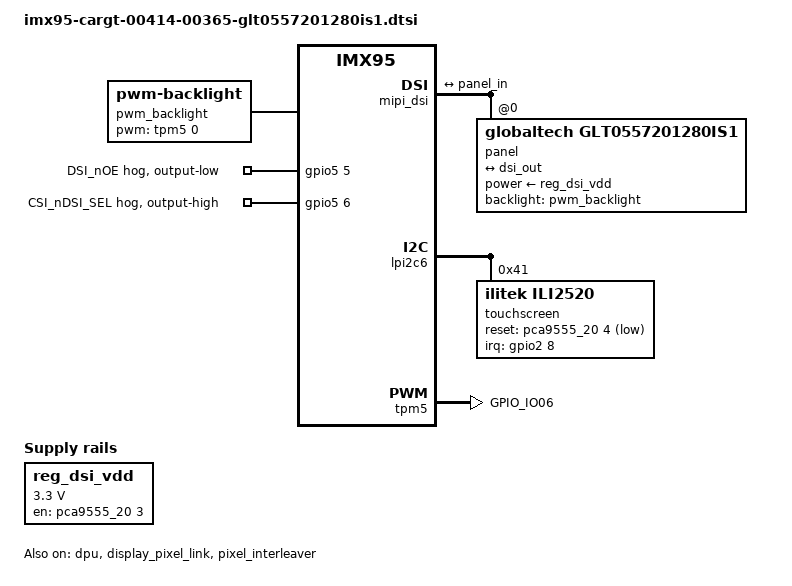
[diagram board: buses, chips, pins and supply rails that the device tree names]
// SPDX-License-Identifier: (GPL-2.0+ OR MIT)
/*
 * Copyright 2026 Cargt
 *
 * GT Display GLT0557201280IS1-CTP 5.5" 720x1280 MIPI-DSI panel (ILI9881C)
 * with ILI2520 touch, on the 00414 SOM + 00365 carrier.
 *
 * Ported from imx93-cargt-00363-00365-glt0557201280is1.dtsi by OSM-L signal
 * name. On the 00414:
 *   PWM_0/DISP_BL_PWM (DSI_BL_PWM)   TPM5_CH0, GPIO_IO06
 *   SPI_A_CS0# (DSICT_nINT)          GPIO2_IO08, GPIO_IO08
 *   I2C_B (touch)                    LPI2C6
 * DSI_VDD_EN (P03) and DSICT_nRST (P04) are on the 00365 pca9555.
 *
 * On the 00414 the i.MX 95 DSI/CSI combo PHY lanes reach the OSM DSI pins
 * through a TMUX646 switch (U4) shared with OSM CSI_B. It is enabled by
 * DSI_nOE (XSPI1_DATA5, GPIO5_IO05, low = on) and set to DSI with
 * CSI_nDSI_SEL (XSPI1_DATA6, GPIO5_IO06, high = DSI; verified on hardware).
 */

/ {
	pwm_backlight: pwm-backlight {
		compatible = "pwm-backlight";
		pwms = <&tpm5 0 5000000 0>; /* 200 Hz */
		brightness-levels = <0 100>;
		num-interpolated-steps = <100>;
		default-brightness-level = <80>;
	};

	reg_dsi_vdd: regulator-dsi-vdd {
		compatible = "regulator-fixed";
		regulator-name = "dsi_vdd";
		regulator-min-microvolt = <3300000>;
		regulator-max-microvolt = <3300000>;
		gpio = <&pca9555_20 3 GPIO_ACTIVE_HIGH>;
		enable-active-high;
		regulator-always-on;
	};
};

/*
 * Pixel clock from VIDEOPLL1: 500 MHz / 10 = exactly the panel's 50 MHz,
 * as on the NXP FRDM 50 MHz DSI panel. 445.33 MHz (49.48 MHz) gave a
 * visibly mistimed picture.
 */
&dpu {
	assigned-clocks = <&scmi_clk IMX95_CLK_DISP1PIX>,
			  <&scmi_clk IMX95_CLK_VIDEOPLL1_VCO>,
			  <&scmi_clk IMX95_CLK_VIDEOPLL1>;
	assigned-clock-parents = <&scmi_clk IMX95_CLK_VIDEOPLL1>;
	assigned-clock-rates = <0>, <3000000000>, <500000000>;
	status = "okay";
};

&display_pixel_link {
	status = "okay";
};

&pixel_interleaver {
	#address-cells = <1>;
	#size-cells = <0>;
	status = "okay";

	channel@0 {
		reg = <0>;
		status = "okay";
	};
};

&mipi_dsi {
	#address-cells = <1>;
	#size-cells = <0>;
	status = "okay";

	panel@0 {
		compatible = "globaltech,glt0557201280is1", "ilitek,ili9881c";
		reg = <0>;
		rotation = <90>;
		power-supply = <&reg_dsi_vdd>;
		backlight = <&pwm_backlight>;

		port {
			panel_in: endpoint {
				remote-endpoint = <&dsi_out>;
			};
		};
	};

	ports {
		#address-cells = <1>;
		#size-cells = <0>;

		port@1 {
			reg = <1>;

			dsi_out: endpoint {
				remote-endpoint = <&panel_in>;
			};
		};
	};
};

&lpi2c6 {
	touchscreen@41 {
		compatible = "ilitek,ili2520";
		reg = <0x41>;
		pinctrl-names = "default";
		pinctrl-0 = <&pinctrl_touchscreen>;
		reset-gpios = <&pca9555_20 4 GPIO_ACTIVE_LOW>;
		interrupt-parent = <&gpio2>;
		interrupts = <8 IRQ_TYPE_LEVEL_LOW>;
		touchscreen-swapped-x-y;
		touchscreen-inverted-x;
		wakeup-source;
	};
};

&gpio5 {
	pinctrl-names = "default";
	pinctrl-0 = <&pinctrl_dsi_mux>;

	dsi-noe-hog {
		gpio-hog;
		gpios = <5 GPIO_ACTIVE_HIGH>;
		output-low;
		line-name = "DSI_nOE";
	};

	csi-ndsi-sel-hog {
		gpio-hog;
		gpios = <6 GPIO_ACTIVE_HIGH>;
		output-high;
		line-name = "CSI_nDSI_SEL";
	};
};

&tpm5 {
	pinctrl-names = "default";
	pinctrl-0 = <&pinctrl_backlight_pwm>;
	status = "okay";
};

&scmi_iomuxc {
	pinctrl_backlight_pwm: backlight-pwmgrp {
		fsl,pins = <
			IMX95_PAD_GPIO_IO06__TPM5_CH0			0x51e	/* DSI_BL_PWM */
		>;
	};

	pinctrl_dsi_mux: dsimuxgrp {
		fsl,pins = <
			IMX95_PAD_XSPI1_DATA5__GPIO5_IO_BIT5		0x31e	/* DSI_nOE */
			IMX95_PAD_XSPI1_DATA6__GPIO5_IO_BIT6		0x31e	/* CSI_nDSI_SEL */
		>;
	};

	pinctrl_touchscreen: touchscreengrp {
		fsl,pins = <
			IMX95_PAD_GPIO_IO08__GPIO2_IO_BIT8		0x31e	/* DSICT_nINT */
		>;
	};
};
